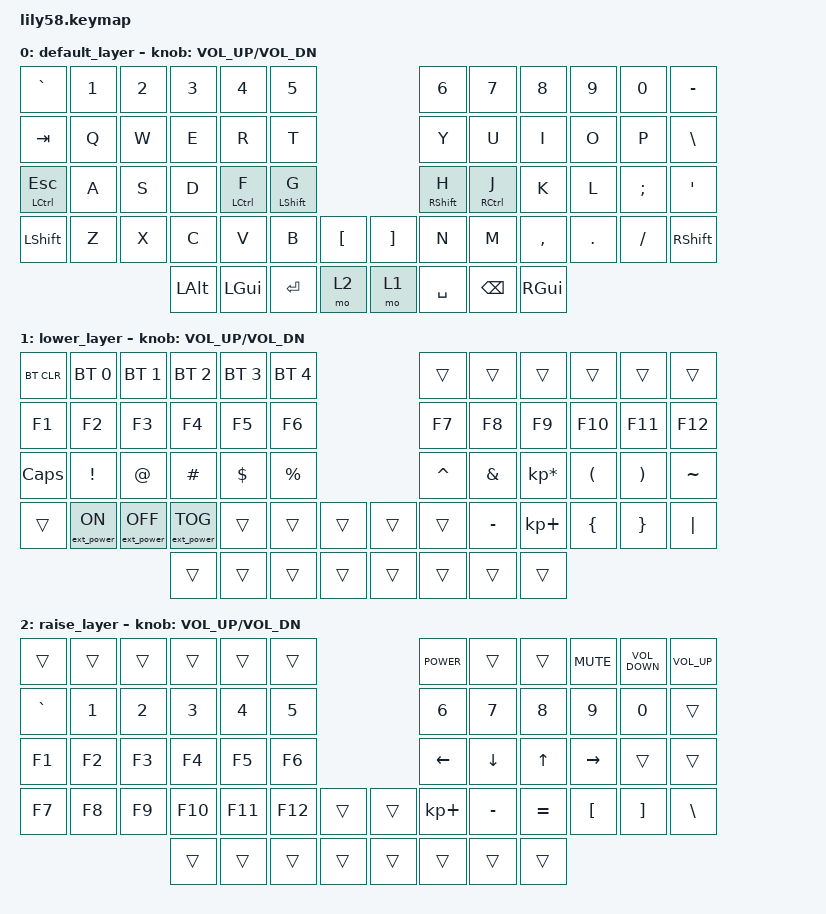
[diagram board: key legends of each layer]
/*
 * Copyright (c) 2020 The ZMK Contributors
 *
 * SPDX-License-Identifier: MIT
 */

#include <behaviors.dtsi>
#include <dt-bindings/zmk/bt.h>
#include <dt-bindings/zmk/ext_power.h>
#include <dt-bindings/zmk/keys.h>

/ {
    behaviors {
        home_row_left: home_row_left {
            compatible = "zmk,behavior-hold-tap";
            label = "HOME_ROW_LEFT";
            bindings = <&kp>, <&kp>;

            #binding-cells = <2>;
            tapping-term-ms = <250>;
            quick-tap-ms = <175>;
            flavor = "balanced";
            hold-trigger-key-positions = <18 19 20 21 22 6 7 8 9 10 11 18 19 20 21 22 23 30 31 32 33 34 35 44 45 46 47 48 49 43>;
            require-prior-idle-ms = <150>;
        };

        home_row_right: home_row_right {
            compatible = "zmk,behavior-hold-tap";
            label = "HOME_ROW_RIGHT";
            bindings = <&kp>, <&kp>;

            #binding-cells = <2>;
            tapping-term-ms = <250>;
            quick-tap-ms = <175>;
            flavor = "balanced";
            hold-trigger-key-positions = <1 2 3 4 5 13 14 15 16 17 25 26 27 28 29 37 38 39 40 41 42>;
            require-prior-idle-ms = <150>;
        };
    };

    macros {
    };

    keymap {
        compatible = "zmk,keymap";

        default_layer {
            // ------------------------------------------------------------------------------------------------------------
            // |  ESC  |  1  |  2  |  3   |  4   |  5   |                   |  6   |  7    |  8    |  9   |   0   |   `   |
            // |  TAB  |  Q  |  W  |  E   |  R   |  T   |                   |  Y   |  U    |  I    |  O   |   P   |   -   |
            // |  CTRL |  A  |  S  |  D   |  F   |  G   |                   |  H   |  J    |  K    |  L   |   ;   |   '   |
            // | SHIFT |  Z  |  X  |  C   |  V   |  B   |   "["  |  |  "]"  |  N   |  M    |  ,    |  .   |   /   | SHIFT |
            //                     | ALT  | GUI  | LOWER|  SPACE |  | ENTER | RAISE| BSPC  | GUI   |

            bindings = <
&kp GRAVE                    &kp N1  &kp N2  &kp N3    &kp N4                         &kp N5                                        &kp N6                         &kp N7                           &kp N8     &kp N9   &kp N0    &kp MINUS
&kp TAB                      &kp Q   &kp W   &kp E     &kp R                          &kp T                                         &kp Y                          &kp U                            &kp I      &kp O    &kp P     &kp BACKSLASH
&home_row_left LCTRL ESCAPE  &kp A   &kp S   &kp D     &home_row_left LEFT_CONTROL F  &home_row_left LSHFT G                        &home_row_right RIGHT_SHIFT H  &home_row_right RIGHT_CONTROL J  &kp K      &kp L    &kp SEMI  &kp SQT
&kp LSHFT                    &kp Z   &kp X   &kp C     &kp V                          &kp B                   &kp LBKT    &kp RBKT  &kp N                          &kp M                            &kp COMMA  &kp DOT  &kp FSLH  &kp RSHFT
                                             &kp LALT  &kp LGUI                       &kp ENTER               &mo 2       &mo 1     &kp SPACE                      &kp BSPC                         &kp RGUI
            >;

            sensor-bindings = <&inc_dec_kp C_VOL_UP C_VOL_DN>;
        };

        lower_layer {
            // ------------------------------------------------------------------------------------------------------------
            // | BTCLR | BT1 | BT2 |  BT3 |  BT4 |  BT5 |                   |      |       |       |      |       |       |
            // |  F1   |  F2 |  F3 |  F4  |  F5  |  F6  |                   |  F7  |  F8   |  F9   |  F10 |  F11  |  F12  |
            // |   `   |  !  |  @  |  #   |  $   |  %   |                   |  ^   |  &    |  *    |  (   |   )   |   ~   |
            // |       |     |     |      |      |      |        |  |       |      |  _    |  +    |  {   |   }   |  "|"  |
            //                     |      |      |      |        |  |       |      |       |       |

            bindings = <
&bt BT_CLR  &bt BT_SEL 0      &bt BT_SEL 1       &bt BT_SEL 2       &bt BT_SEL 3  &bt BT_SEL 4                    &trans     &trans     &trans           &trans    &trans    &trans
&kp F1      &kp F2            &kp F3             &kp F4             &kp F5        &kp F6                          &kp F7     &kp F8     &kp F9           &kp F10   &kp F11   &kp F12
&kp CAPS    &kp EXCL          &kp AT             &kp HASH           &kp DOLLAR    &kp PRCNT                       &kp CARET  &kp AMPS   &kp KP_MULTIPLY  &kp LPAR  &kp RPAR  &kp TILDE
&trans      &ext_power EP_ON  &ext_power EP_OFF  &ext_power EP_TOG  &trans        &trans        &trans    &trans  &trans     &kp MINUS  &kp KP_PLUS      &kp LBRC  &kp RBRC  &kp PIPE
                                                 &trans             &trans        &trans        &trans    &trans  &trans     &trans     &trans
            >;

            sensor-bindings = <&inc_dec_kp C_VOL_UP C_VOL_DN>;
        };

        raise_layer {
            // ------------------------------------------------------------------------------------------------------------
            // |       |     |     |      |      |      |                   |      |       |       |      |       |       |
            // |   `   |  1  |  2  |  3   |  4   |  5   |                   |  6   |   7   |   8   |  9   |   0   |       |
            // |   F1  |  F2 |  F3 |  F4  |  F5  |  F6  |                   |      |   <-  |   v   |  ^   |  ->   |       |
            // |   F7  |  F8 |  F9 |  F10 |  F11 |  F12 |        |  |       |  +   |   -   |   =   |  [   |   ]   |   \   |
            //                     |      |      |      |        |  |       |      |       |       |

            bindings = <
&trans     &trans  &trans  &trans   &trans   &trans                     &kp K_POWER  &trans          &trans        &kp C_MUTE  &kp C_VOLUME_DOWN  &kp C_VOLUME_UP
&kp GRAVE  &kp N1  &kp N2  &kp N3   &kp N4   &kp N5                     &kp N6       &kp N7          &kp N8        &kp N9      &kp N0             &trans
&kp F1     &kp F2  &kp F3  &kp F4   &kp F5   &kp F6                     &kp LEFT     &kp DOWN_ARROW  &kp UP_ARROW  &kp RIGHT   &trans             &trans
&kp F7     &kp F8  &kp F9  &kp F10  &kp F11  &kp F12  &trans    &trans  &kp KP_PLUS  &kp MINUS       &kp EQUAL     &kp LBKT    &kp RBKT           &kp BSLH
                           &trans   &trans   &trans   &trans    &trans  &trans       &trans          &trans
            >;

            sensor-bindings = <&inc_dec_kp C_VOL_UP C_VOL_DN>;
        };
    };
};
